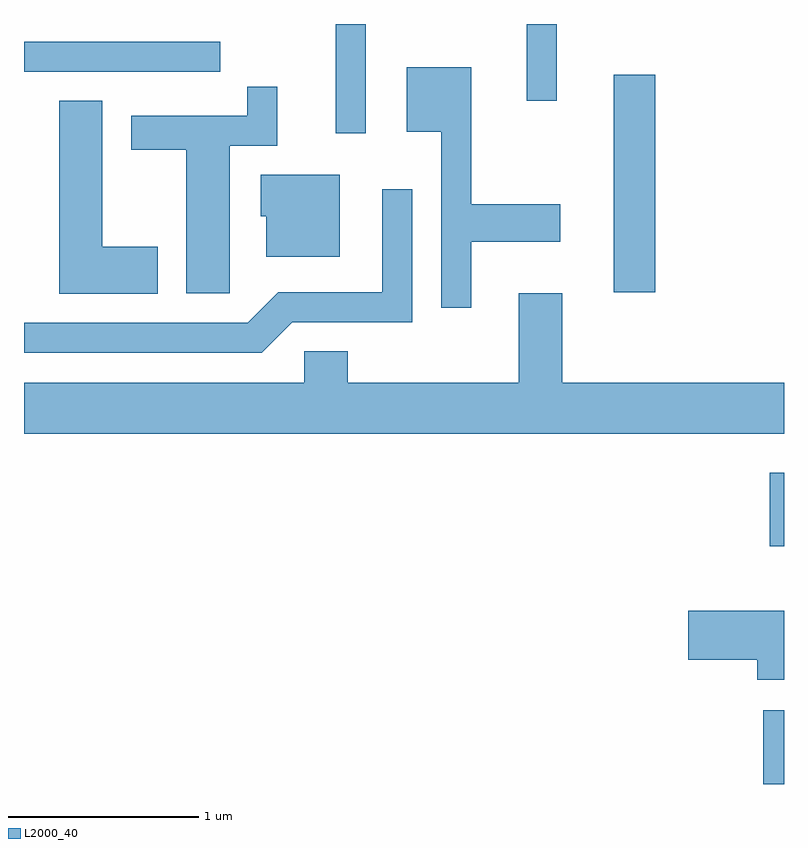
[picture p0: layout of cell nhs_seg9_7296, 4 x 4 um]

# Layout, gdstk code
import gdstk
lib = gdstk.Library(unit=1e-6, precision=1e-09)
def R(c, l, rs):  # rectangles x0, y0, x1, y1
    for r in rs: c.add(gdstk.rectangle(r[:2], r[2:], *l))
def P(c, l, *ps):  # polygons
    for p in ps: c.add(gdstk.Polygon(p, *l))
L2000_40 = (2000, 40)

nhs_seg9_7296 = lib.new_cell('nhs_seg9_7296')
R(nhs_seg9_7296, L2000_40, [(405.501,1974.432,405.611,1974.819), (405.536,1975.683,405.611,1976.069), (404.716,1977.021,404.934,1978.164), (403.251,1977.858,403.409,1978.432), (404.256,1978.028,404.414,1978.432), (401.611,1978.181,402.643,1978.339)])
P(nhs_seg9_7296, L2000_40, [(403.964,1977.286),(404.434,1977.286),(404.434,1977.484),(403.964,1977.484),(403.964,1978.204),(403.626,1978.204),(403.626,1977.866),(403.806,1977.866),(403.806,1976.938),(403.964,1976.938)],
  [(402.694,1977.791),(402.944,1977.791),(402.944,1978.103),(402.786,1978.103),(402.786,1977.949),(402.176,1977.949),(402.176,1977.771),(402.466,1977.771),(402.466,1977.016),(402.694,1977.016)],
  [(402.314,1977.259),(402.024,1977.259),(402.024,1978.029),(401.796,1978.029),(401.796,1977.011),(402.314,1977.011)],
  [(403.274,1977.639),(402.856,1977.639),(402.856,1977.421),(402.886,1977.421),(402.886,1977.206),(403.274,1977.206)],
  [(403.022,1976.861),(403.654,1976.861),(403.654,1977.563),(403.496,1977.563),(403.496,1977.019),(402.949,1977.019),(402.789,1976.859),(401.611,1976.859),(401.611,1976.701),(402.862,1976.701)],
  [(405.611,1976.544),(404.444,1976.544),(404.444,1977.014),(404.216,1977.014),(404.216,1976.544),(403.314,1976.544),(403.314,1976.709),(403.086,1976.709),(403.086,1976.544),(401.611,1976.544),(401.611,1976.276),(405.611,1976.276)],
  [(405.611,1975.344),(405.106,1975.344),(405.106,1975.086),(405.471,1975.086),(405.471,1974.981),(405.611,1974.981)])

lib.write_gds('nhs_seg9_7296.gds')
